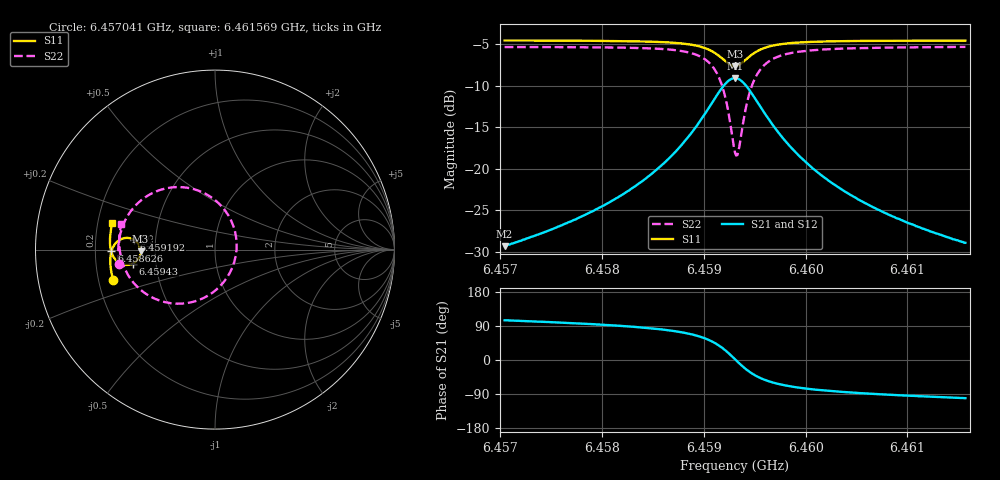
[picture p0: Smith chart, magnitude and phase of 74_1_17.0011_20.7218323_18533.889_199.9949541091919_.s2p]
#  HZ  S  RI  R  50.00
! Rohde & Schwarz Vector Network Analyzer
! Rohde-Schwarz,ZNB20-2Port,1311601062101988,3.16
! Created: UTC 3/20/2024, 10:55:20 PM
! freq[Hz]  re:S11  im:S11  re:S21  im:S21  re:S12  im:S12  re:S22  im:S22
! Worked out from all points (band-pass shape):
!   401 points, 6.457041 GHz to 6.461569 GHz, reference 50 ohm
!   highest |S21| = -9.09 dB at 6.459305 GHz (marker M1); lowest = -29.4 dB at 6.457041 GHz (marker M2)
!   |S21| within 3 dB of the highest: 6.459078 GHz to 6.459531 GHz (452.3 kHz wide, 0.007 % of centre)
!   lowest |S11| = -7.6 dB at 6.459305 GHz (marker M3), VSWR 2.42, Z = 20.7 - j0.52 ohm
!   |S11| at or under -10 dB: nowhere
!   |S22| runs from -18.4 to -5.3 dB; largest |S21 - S12| = 0.014
!   S11 on the Smith chart (normalised r, x): 6.457041 GHz: 0.26, -0.14; 6.458626 GHz: 0.27, -0.01; 6.459192 GHz: 0.38, +0.05; 6.45943 GHz: 0.37, -0.07; 6.461569 GHz: 0.26, +0.12
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6.4570411e9  -0.5674 -0.1687  -0.00873 0.0329  -0.00698 0.0329  -0.5345 -0.0783
6.4577995e9  -0.5809 -0.102  -0.00536 0.0513  -0.00266 0.0506  -0.5388 0.0115
6.458241e9  -0.5835 -0.0573  0.0013 0.0724  0.00473 0.071  -0.5289 0.083
6.4585579e9  -0.5794 -0.0187  0.015 0.1001  0.0189 0.0974  -0.5035 0.1566
6.4586258e9  -0.577 -0.00917  0.0205 0.1086  0.0245 0.1054  -0.4932 0.1766
6.4588183e9  -0.5642 0.0213  0.0476 0.1399  0.0517 0.1349  -0.4424 0.246
6.4589654e9  -0.541 0.0476  0.0937 0.1708  0.0968 0.164  -0.3572 0.3104
6.4591013e9  -0.4964 0.0652  0.1823 0.1872  0.1833 0.1798  -0.1951 0.3484
6.4591918e9  -0.451 0.0543  0.2738 0.1548  0.274 0.149  -0.0264 0.2954
6.4592598e9  -0.4214 0.0213  0.3346 0.0813  0.337 0.076  0.0895 0.1623
6.459305e9  -0.4145 -0.0104  0.3508 0.0121  0.3546 0.0051  0.1204 0.0331
6.459339e9  -0.4187 -0.0346  0.3444 -0.0412  0.3484 -0.0504  0.1077 -0.0679
6.4593843e9  -0.4348 -0.0611  0.3148 -0.1017  0.3172 -0.1137  0.0477 -0.1819
6.4594295e9  -0.4573 -0.0776  0.2719 -0.1429  0.271 -0.1564  -0.0395 -0.2565
6.4595201e9  -0.5015 -0.0846  0.1857 -0.1738  0.1794 -0.1855  -0.2108 -0.3014
6.459588e9  -0.526 -0.0772  0.137 -0.1714  0.1287 -0.1805  -0.305 -0.2854
6.4596673e9  -0.5458 -0.0641  0.0968 -0.1591  0.0883 -0.1654  -0.3796 -0.2497
6.4598257e9  -0.5678 -0.0363  0.0516 -0.1306  0.0439 -0.1334  -0.4602 -0.1765
6.4600634e9  -0.5807 -0.00087  0.0223 -0.0985  0.0164 -0.0992  -0.5081 -0.0933
6.460403e9  -0.5854 0.0399  0.0064 -0.0714  0.00222 -0.0708  -0.5294 -0.0139
6.4608219e9  -0.5837 0.0823  -0.00149 -0.0525  -0.00435 -0.0517  -0.5335 0.0543
6.461569e9  -0.5719 0.1488  -0.00664 -0.0351  -0.00831 -0.0341  -0.5221 0.1434
